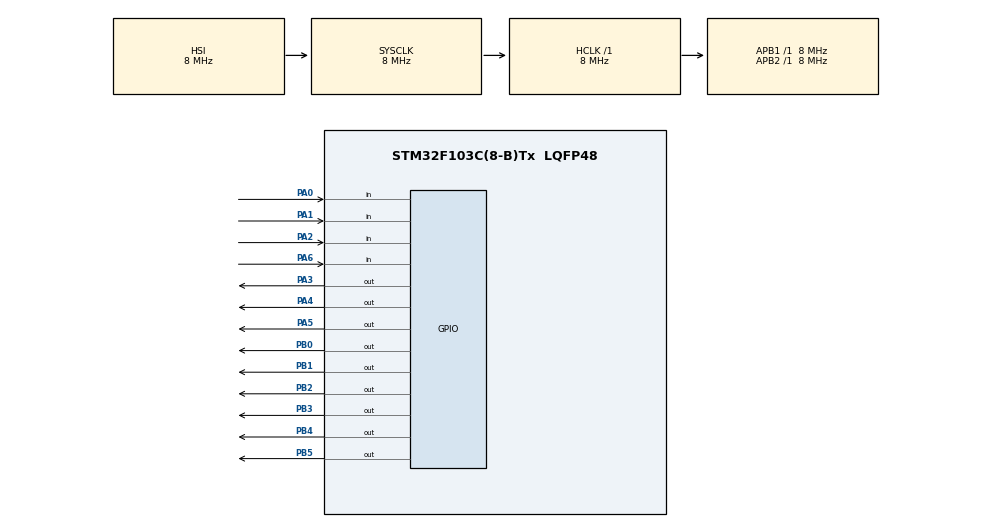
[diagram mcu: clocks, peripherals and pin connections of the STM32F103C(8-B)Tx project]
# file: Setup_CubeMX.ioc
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Mcu.Family=STM32F1
Mcu.Name=STM32F103C(8-B)Tx
Mcu.Package=LQFP48
NVIC.PriorityGroup=NVIC_PRIORITYGROUP_4
PA0-WKUP.GPIO_PuPd=GPIO_NOPULL
PA0-WKUP.Signal=GPIO_Input
PA1.Signal=GPIO_Input
PA2.Signal=GPIO_Input
PA3.Signal=GPIO_Output
PA4.Signal=GPIO_Output
PA5.Signal=GPIO_Output
PA6.Signal=GPIO_Input
PB0.Signal=GPIO_Output
PB1.Signal=GPIO_Output
PB2.Signal=GPIO_Output
PB3.Signal=GPIO_Output
PB4.Signal=GPIO_Output
PB5.Signal=GPIO_Output
PC14-OSC32_IN.Mode=LSE-External-Oscillator
PC14-OSC32_IN.Signal=RCC_OSC32_IN
PC15-OSC32_OUT.Mode=LSE-External-Oscillator
PC15-OSC32_OUT.Signal=RCC_OSC32_OUT
PD0-OSC_IN.Mode=HSE-External-Oscillator
PD0-OSC_IN.Signal=RCC_OSC_IN
PD1-OSC_OUT.Mode=HSE-External-Oscillator
PD1-OSC_OUT.Signal=RCC_OSC_OUT
ProjectManager.HeapSize=0x200
ProjectManager.StackSize=0x400
ProjectManager.TargetToolchain=MDK-ARM V5.32
RCC.AHBFreq_Value=8000000
RCC.APB1Freq_Value=8000000
RCC.APB1TimFreq_Value=8000000
RCC.APB2Freq_Value=8000000
RCC.APB2TimFreq_Value=8000000
RCC.HCLKFreq_Value=8000000
RCC.SYSCLKFreq_VALUE=8000000
RCC.USBFreq_Value=8000000
RTC.Date=26
RTC.Format=RTC_FORMAT_BIN
RTC.Hours=10
RTC.Minutes=20
RTC.Month=RTC_MONTH_AUGUST
RTC.WeekDay=RTC_WEEKDAY_SATURDAY
RTC.Year=23
VP_RTC_VS_RTC_Activate.Mode=RTC_Enabled
VP_RTC_VS_RTC_Calendar.Mode=RTC_Calendar
VP_SYS_VS_ND.Mode=No_Debug
board=custom

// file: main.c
/* USER CODE BEGIN Header */
/**
  ******************************************************************************
  * @file           : main.c
  * @brief          : Main program body
  ******************************************************************************
  * @attention
  *
  * Copyright (c) 2023 STMicroelectronics.
  * All rights reserved.
  *
  * This software is licensed under terms that can be found in the LICENSE file
  * in the root directory of this software component.
  * If no LICENSE file comes with this software, it is provided AS-IS.
  *
  ******************************************************************************
  */
/* USER CODE END Header */
#include "main.h"

/* USER CODE BEGIN Includes */
#include <stdio.h>
#include "lcd_16x2.h"

/* USER CODE END Includes */

RTC_HandleTypeDef hrtc;

void SystemClock_Config(void);
static void MX_GPIO_Init(void);
static void MX_RTC_Init(void);
/* USER CODE BEGIN PFP */
void MX_RTC_Init_New(int8_t hour,int8_t min,int8_t sec);
void giaima1(int8_t num1,int8_t num2);
void giaima2(int8_t num3,int8_t num4,int8_t num5,int8_t num6);
void end_timermode(void);
/* USER CODE END PFP */

/* USER CODE BEGIN 0 */
int8_t status=0, edit_state=0, status_tmr=0, pause_press=0, p_p_s=0, alarm_count=1, alarm_used=0, temp=0;
int8_t c_h=0, c_m=0, c_s=0, t_h=0, t_m=0, t_s=0, p_h=0, p_m=0, p_s=0, trigger=0;
uint32_t alarm_time[50];
uint8_t ma7doan[11]={0xC0,0xF9,0xA4,0xB0,0x99,0x92,0x82,0xF8,0x80,0x90,0xFF};
void giaima1(int8_t num1,int8_t num2)
	{
		int8_t mahex1=ma7doan[num1];
		int8_t mahex2=ma7doan[num2];
		HAL_GPIO_WritePin(GPIOB,GPIO_PIN_1,0);
		for(int8_t iteration1=0;iteration1<=7;iteration1++)
		{
			mahex1=mahex1<<1;
			HAL_GPIO_WritePin(GPIOB,GPIO_PIN_2,0);
			if((mahex1&0x80) == 0x80)	HAL_GPIO_WritePin(GPIOB,GPIO_PIN_0,1);
			else if((mahex1&0x80) == 0) HAL_GPIO_WritePin(GPIOB,GPIO_PIN_0,0);
			HAL_GPIO_WritePin(GPIOB,GPIO_PIN_2,1);
		}

		for(int8_t iteration2=0;iteration2<=7;iteration2++)
		{
			mahex2=mahex2<<1;
			HAL_GPIO_WritePin(GPIOB,GPIO_PIN_2,0);
			if((mahex2&0x80) == 0x80)	HAL_GPIO_WritePin(GPIOB,GPIO_PIN_0,1);
			else if((mahex2&0x80) == 0) HAL_GPIO_WritePin(GPIOB,GPIO_PIN_0,0);
			HAL_GPIO_WritePin(GPIOB,GPIO_PIN_2,1);
		}
		HAL_GPIO_WritePin(GPIOB,GPIO_PIN_1,1);
	}
void giaima2(int8_t num3,int8_t num4,int8_t num5,int8_t num6)
	{
		int8_t mahex3=ma7doan[num3];
		int8_t mahex4=ma7doan[num4];
		int8_t mahex5=ma7doan[num5];
		int8_t mahex6=ma7doan[num6];
		HAL_GPIO_WritePin(GPIOB,GPIO_PIN_4,0);
		for(int8_t iteration3=0;iteration3<=7;iteration3++)
		{
			mahex3=mahex3<<1;
			HAL_GPIO_WritePin(GPIOB,GPIO_PIN_5,0);
			if((mahex3&0x80) == 0x80)	HAL_GPIO_WritePin(GPIOB,GPIO_PIN_3,1);
			else if((mahex3&0x80) == 0) HAL_GPIO_WritePin(GPIOB,GPIO_PIN_3,0);
			HAL_GPIO_WritePin(GPIOB,GPIO_PIN_5,1);
		}

		for(int8_t iteration4=0;iteration4<=7;iteration4++)
		{
			mahex4=mahex4<<1;
			HAL_GPIO_WritePin(GPIOB,GPIO_PIN_5,0);
			if((mahex4&0x80) == 0x80)	HAL_GPIO_WritePin(GPIOB,GPIO_PIN_3,1);
			else if((mahex4&0x80) == 0) HAL_GPIO_WritePin(GPIOB,GPIO_PIN_3,0);
			HAL_GPIO_WritePin(GPIOB,GPIO_PIN_5,1);
		}

			for(int8_t iteration5=0;iteration5<=7;iteration5++)
		{
			mahex5=mahex5<<1;
			HAL_GPIO_WritePin(GPIOB,GPIO_PIN_5,0);
			if((mahex5&0x80) == 0x80)	HAL_GPIO_WritePin(GPIOB,GPIO_PIN_3,1);
			else if((mahex5&0x80) == 0) HAL_GPIO_WritePin(GPIOB,GPIO_PIN_3,0);
			HAL_GPIO_WritePin(GPIOB,GPIO_PIN_5,1);
		}

			for(int8_t iteration6=0;iteration6<=7;iteration6++)
		{
			mahex6=mahex6<<1;
			HAL_GPIO_WritePin(GPIOB,GPIO_PIN_5,0);
			if((mahex6&0x80) == 0x80)	HAL_GPIO_WritePin(GPIOB,GPIO_PIN_3,1);
			else if((mahex6&0x80) == 0) HAL_GPIO_WritePin(GPIOB,GPIO_PIN_3,0);
			HAL_GPIO_WritePin(GPIOB,GPIO_PIN_5,1);
		}

		HAL_GPIO_WritePin(GPIOB,GPIO_PIN_4,1);
	}
void end_timermode(void)
	{
		if (HAL_GPIO_ReadPin(GPIOA,GPIO_PIN_1)==0)
		{
			while (HAL_GPIO_ReadPin(GPIOA,GPIO_PIN_1)==0){}
			MX_RTC_Init_New(t_h,t_m,t_s);
			status=0;
			status_tmr=0;
			HAL_GPIO_WritePin(GPIOA,GPIO_PIN_4,1);
			if (pause_press==1) pause_press=0;
			if (p_p_s==1)	p_p_s=0;
		}
	}
/* USER CODE END 0 */

int main(void)
{

  /* MCU Configuration--------------------------------------------------------*/

  /* Reset of all peripherals, Initializes the Flash interface and the Systick. */
  HAL_Init();

  /* USER CODE BEGIN Init */
	RTC_TimeTypeDef Ttime;
	RTC_DateTypeDef Tdate;
  /* USER CODE END Init */

  /* Configure the system clock */
  SystemClock_Config();

  /* Initialize all configured peripherals */
  MX_GPIO_Init();
  MX_RTC_Init();
  /* USER CODE BEGIN 2 */
  char Lcd_data[100];
	Lcd_Init();
	HAL_GPIO_WritePin(GPIOA,GPIO_PIN_3,1);
	HAL_GPIO_WritePin(GPIOA,GPIO_PIN_4,1);
	HAL_GPIO_WritePin(GPIOA,GPIO_PIN_5,1);
  /* USER CODE END 2 */

  /* Infinite loop */
  while (1)
  {

    /* USER CODE BEGIN 3 */
		if ((status==4) || (status==5)) //keep rtc while setting alarm
		{
			HAL_RTC_GetTime(&hrtc, &Ttime, RTC_FORMAT_BIN);
			HAL_RTC_GetDate(&hrtc, &Tdate, RTC_FORMAT_BIN);
		}
		if (status==0)
		{
			HAL_RTC_GetTime(&hrtc, &Ttime, RTC_FORMAT_BIN);
			HAL_RTC_GetDate(&hrtc, &Tdate, RTC_FORMAT_BIN);
			giaima1(Ttime.Seconds%10,Ttime.Seconds/10);
			if ((status_tmr==0)||(Ttime.Hours>0)) giaima2(Ttime.Minutes%10,Ttime.Minutes/10,Ttime.Hours%10,Ttime.Hours/10);
			else if ((status_tmr==1)&&(Ttime.Hours<1)) giaima2(Ttime.Minutes%10,Ttime.Minutes/10,10,10);	//when hour=0 in timer mode disable hour leds
		}

//timer step 2 (stop timer after started & end timer)
		if (status_tmr==1)
		{
			if ((HAL_GPIO_ReadPin(GPIOA,GPIO_PIN_2)==0) && pause_press==0) //pause button pressed 1st time
			{
				while (HAL_GPIO_ReadPin(GPIOA,GPIO_PIN_2)==0){}
					status=3; //stop time in timer
					p_h=Ttime.Hours;
					p_m=Ttime.Minutes;
					p_s=Ttime.Seconds;
					giaima1(Ttime.Seconds%10,Ttime.Seconds/10);
					if (Ttime.Hours<1) giaima2(Ttime.Minutes%10,Ttime.Minutes/10,10,10);
					else if (Ttime.Hours>0) giaima2(Ttime.Minutes%10,Ttime.Minutes/10,Ttime.Hours%10,Ttime.Hours/10);
					pause_press=1;
					p_p_s=1;	// when pause and stop happen at same time, skip the stop button pressed 1st time
			}
			if ((HAL_GPIO_ReadPin(GPIOA,GPIO_PIN_2)==0) && pause_press==1) //pause button pressed 2nd time
			{
				while (HAL_GPIO_ReadPin(GPIOA,GPIO_PIN_2)==0){}
					status=0; //stop time in timer status
					MX_RTC_Init_New(p_h,p_m,p_s);
					pause_press=0;
			}
			if ((HAL_GPIO_ReadPin(GPIOA,GPIO_PIN_0)==0) && pause_press==0) //stop button pressed 1st time
			{
				while (HAL_GPIO_ReadPin(GPIOA,GPIO_PIN_0)==0){}
					status=3; //stop time in timer status
					giaima1(Ttime.Seconds%10,Ttime.Seconds/10);
					if (Ttime.Hours<1) giaima2(Ttime.Minutes%10,Ttime.Minutes/10,10,10);
					else if (Ttime.Hours>0) giaima2(Ttime.Minutes%10,Ttime.Minutes/10,Ttime.Hours%10,Ttime.Hours/10);
					status_tmr=2;
			}
			end_timermode();
		}

//timer step 2 (reset timer for the next run & end timer)
		if ((status_tmr==2) || p_p_s==1)	//activated when stop button has been pressed 1 time or stop during pause
		{
			if (HAL_GPIO_ReadPin(GPIOA,GPIO_PIN_0)==0)	//stop button pressed  2nd time
			{
				while (HAL_GPIO_ReadPin(GPIOA,GPIO_PIN_0)==0){}
				MX_RTC_Init_New(0,0,0);
				giaima1(0,0);
				giaima2(0,0,10,10);
				status=2;
				status_tmr=0;
				p_p_s=0;
			}
			end_timermode();
		}

//edit mode with rtc stopped
		if (status==1)
		{
			while (edit_state==0) //edit hour
				{
					giaima1(c_s%10,c_s/10);
					giaima2(c_m%10,c_m/10,10,10);
					HAL_Delay(80);
					giaima2(c_m%10,c_m/10,c_h%10,c_h/10);
					if (HAL_GPIO_ReadPin(GPIOA,GPIO_PIN_1)==0)
					{
						while (HAL_GPIO_ReadPin(GPIOA,GPIO_PIN_1)==0){}
						c_h=c_h+1;
						if(c_h==24) c_h=0;
					}
					if (HAL_GPIO_ReadPin(GPIOA,GPIO_PIN_2)==0)
					{
						while (HAL_GPIO_ReadPin(GPIOA,GPIO_PIN_2)==0){}
						c_h=c_h-1;
						if(c_h==-1) c_h=23;
					}
					if (HAL_GPIO_ReadPin(GPIOA,GPIO_PIN_0)==0)
					{
						while (HAL_GPIO_ReadPin(GPIOA,GPIO_PIN_0)==0){}
						edit_state = 1;	//initialize edit minute
						giaima2(c_m%10,c_m/10,c_h%10,c_h/10);
					}
					HAL_Delay(80);
				}
			while (edit_state==1)	//edit minute
				{
					giaima1(c_s%10,c_s/10);
					giaima2(10,10,c_h%10,c_h/10);
					HAL_Delay(80);
					giaima2(c_m%10,c_m/10,c_h%10,c_h/10);
					if (HAL_GPIO_ReadPin(GPIOA,GPIO_PIN_1)==0)
					{
						while (HAL_GPIO_ReadPin(GPIOA,GPIO_PIN_1)==0){}
						c_m=c_m+1;
						if(c_m==60) c_m=0;
					}
					if (HAL_GPIO_ReadPin(GPIOA,GPIO_PIN_2)==0)
					{
						while (HAL_GPIO_ReadPin(GPIOA,GPIO_PIN_2)==0){}
						c_m=c_m-1;
						if(c_m==-1) c_m=59;
					}
					if (HAL_GPIO_ReadPin(GPIOA,GPIO_PIN_0)==0)
					{
						while (HAL_GPIO_ReadPin(GPIOA,GPIO_PIN_0)==0){}
						edit_state = 2;	//initialize edit second
						giaima2(c_m%10,c_m/10,c_h%10,c_h/10);
					}
					HAL_Delay(80);
				}
			while (edit_state==2)	//edit second
				{
					giaima1(10,10);
					giaima2(c_m%10,c_m/10,c_h%10,c_h/10);
					HAL_Delay(80);
					giaima1(c_s%10,c_s/10);
					if (HAL_GPIO_ReadPin(GPIOA,GPIO_PIN_1)==0)
					{
						while (HAL_GPIO_ReadPin(GPIOA,GPIO_PIN_1)==0){}
						c_s=c_s+1;
						if(c_s==60) c_s=0;
					}
					if (HAL_GPIO_ReadPin(GPIOA,GPIO_PIN_2)==0)
					{
						while (HAL_GPIO_ReadPin(GPIOA,GPIO_PIN_2)==0){}
						c_s=c_s-1;
						if(c_s==-1) c_s=59;
					}
					if (HAL_GPIO_ReadPin(GPIOA,GPIO_PIN_0)==0)
					{
						while (HAL_GPIO_ReadPin(GPIOA,GPIO_PIN_0)==0){}
						edit_state = 3;	//initialize finish edit
						giaima1(c_s%10,c_s/10);
					}
					HAL_Delay(80);
				}
			if(edit_state==3)	//finish edit
			{
				edit_state=0;
				HAL_GPIO_WritePin(GPIOA,GPIO_PIN_3,1);
				MX_RTC_Init_New(c_h,c_m,c_s);	//continue rtc with editted value
				status=0;
			}
		}

//timer step 1 (waiting for start button pressed & end timer)
		if (status==2)
		{
			giaima1(0,0);
			giaima2(0,0,10,10);
			if (HAL_GPIO_ReadPin(GPIOA,GPIO_PIN_0)==0) //start button
			{
				while (HAL_GPIO_ReadPin(GPIOA,GPIO_PIN_0)==0){}
				MX_RTC_Init_New(0,0,0);
				status=0;
				status_tmr=1;
				}
			end_timermode();
		}

//alarm step 1 (input number of alarm)
		if (status==4)
		{
			if (alarm_count<10) giaima1(alarm_count,10);
			else giaima1(alarm_count%10,alarm_count/10);
			giaima2(10,10,10,10);
			if (HAL_GPIO_ReadPin(GPIOA,GPIO_PIN_1)==0)
			{
				while (HAL_GPIO_ReadPin(GPIOA,GPIO_PIN_1)==0){}
				alarm_count=alarm_count+1;
				if(alarm_count==50) alarm_count=49;
			}
			if (HAL_GPIO_ReadPin(GPIOA,GPIO_PIN_2)==0)
			{
				while (HAL_GPIO_ReadPin(GPIOA,GPIO_PIN_2)==0){}
				alarm_count=alarm_count-1;
				if(alarm_count==0) alarm_count=1;
			}
			if (HAL_GPIO_ReadPin(GPIOA,GPIO_PIN_6)==0)
			{
				while (HAL_GPIO_ReadPin(GPIOA,GPIO_PIN_6)==0){}
				status=5;	//alarm
			}
		}

//alarm step 2 (select time for each alarm)
		if (status==5)
		{
			for(int8_t iteration7=0;iteration7<alarm_count;iteration7++)
			{
				if (alarm_count<10) giaima1(iteration7+1,10);
				else giaima1((iteration7+1)%10,(iteration7+1)/10);
				giaima2(10,10,10,10);
				HAL_Delay(850);	//display the alarm number
				while (edit_state==0) //alarm hour
				{
					giaima1(t_s%10,t_s/10);
					giaima2(t_m%10,t_m/10,10,10);
					HAL_Delay(80);
					giaima2(t_m%10,t_m/10,t_h%10,t_h/10);
					if (HAL_GPIO_ReadPin(GPIOA,GPIO_PIN_1)==0)
					{
						while (HAL_GPIO_ReadPin(GPIOA,GPIO_PIN_1)==0){}
						t_h=t_h+1;
						if(t_h==24) t_h=0;
					}
					if (HAL_GPIO_ReadPin(GPIOA,GPIO_PIN_2)==0)
					{
						while (HAL_GPIO_ReadPin(GPIOA,GPIO_PIN_2)==0){}
						t_h=t_h-1;
						if(t_h==-1) t_h=23;
					}
					if (HAL_GPIO_ReadPin(GPIOA,GPIO_PIN_6)==0)
					{
						while (HAL_GPIO_ReadPin(GPIOA,GPIO_PIN_6)==0){}
						edit_state = 1;	//initialize alarm minute
						giaima2(t_m%10,t_m/10,t_h%10,t_h/10);
					}
					HAL_Delay(80);
				}
				while (edit_state==1)	//alarm minute
				{
					giaima1(t_s%10,t_s/10);
					giaima2(10,10,t_h%10,t_h/10);
					HAL_Delay(80);
					giaima2(t_m%10,t_m/10,t_h%10,t_h/10);
					if (HAL_GPIO_ReadPin(GPIOA,GPIO_PIN_1)==0)
					{
						while (HAL_GPIO_ReadPin(GPIOA,GPIO_PIN_1)==0){}
						t_m=t_m+1;
						if(t_m==60) t_m=0;
					}
					if (HAL_GPIO_ReadPin(GPIOA,GPIO_PIN_2)==0)
					{
						while (HAL_GPIO_ReadPin(GPIOA,GPIO_PIN_2)==0){}
						t_m=t_m-1;
						if(t_m==-1) t_m=59;
					}
					if (HAL_GPIO_ReadPin(GPIOA,GPIO_PIN_6)==0)
					{
						while (HAL_GPIO_ReadPin(GPIOA,GPIO_PIN_6)==0){}
						edit_state = 2;	//initialize alarm second
						giaima2(t_m%10,t_m/10,t_h%10,t_h/10);
					}
					HAL_Delay(80);
				}
				while (edit_state==2)	//alarm second
				{
					giaima1(10,10);
					giaima2(t_m%10,t_m/10,t_h%10,t_h/10);
					HAL_Delay(80);
					giaima1(t_s%10,t_s/10);
					if (HAL_GPIO_ReadPin(GPIOA,GPIO_PIN_1)==0)
					{
						while (HAL_GPIO_ReadPin(GPIOA,GPIO_PIN_1)==0){}
						t_s=t_s+1;
						if(t_s==60) t_s=0;
					}
					if (HAL_GPIO_ReadPin(GPIOA,GPIO_PIN_2)==0)
					{
						while (HAL_GPIO_ReadPin(GPIOA,GPIO_PIN_2)==0){}
						t_s=t_s-1;
						if(t_s==-1) t_s=59;
					}
					if (HAL_GPIO_ReadPin(GPIOA,GPIO_PIN_6)==0)
					{
						while (HAL_GPIO_ReadPin(GPIOA,GPIO_PIN_6)==0){}
						edit_state = 0;	//initialize finish alarm
						alarm_time[iteration7]=t_h*3600+t_m*60+t_s;
						giaima1(t_s%10,t_s/10);
							for(int8_t iteration8=0;iteration8<4;iteration8++)
							{
								HAL_GPIO_TogglePin(GPIOA,GPIO_PIN_5);	//alarm cofirmation
								HAL_Delay(90);
							}
						}
					HAL_Delay(80);
					}
				}
//				MX_RTC_Init_New(c_h,c_m,c_s);  //unlock if no need to keep rtc when on alarm setting mode
				status=0;
				HAL_GPIO_WritePin(GPIOA,GPIO_PIN_5,1);
				alarm_used=1;	//alarm has been used
				for (int8_t iteration9=0;iteration9<alarm_count;iteration9++) //rearrange alarm time array in increasing order
				{
					for (int8_t iteration10=iteration9+1;iteration10<alarm_count;iteration10++)
					{
						if(alarm_time[iteration9] > alarm_time[iteration10])
						{
							temp = alarm_time[iteration9];
              alarm_time[iteration9] = alarm_time[iteration10];
              alarm_time[iteration10] = temp;
						}
					}
				}
		}

//alarm step 3( alarm is used and detect if the current time is same as the alarm set)
		if (alarm_used==1)
		{
			if ((alarm_count==1)&&((Ttime.Hours*3600+Ttime.Minutes*60+Ttime.Seconds)>alarm_time[0])) trigger=1;
			for (int8_t iteration11=0;iteration11<alarm_count;iteration11++)
			{
				if (((Ttime.Hours*3600+Ttime.Minutes*60+Ttime.Seconds) == alarm_time[iteration11]))
				{
					trigger=1;
				}
			}
			if (trigger==1)
			{
				HAL_GPIO_WritePin(GPIOA,GPIO_PIN_5,0);	//turn on alarm led
			}
			if ((HAL_GPIO_ReadPin(GPIOA,GPIO_PIN_6)==0) && (trigger==1))
			{
				while (HAL_GPIO_ReadPin(GPIOA,GPIO_PIN_6)==0){}
				HAL_GPIO_WritePin(GPIOA,GPIO_PIN_5,1);
				trigger=0; //turn off alarm led
				if(Ttime.Hours*3600+Ttime.Minutes*60+Ttime.Seconds>alarm_time[alarm_count-1])	//if the real time> than the largest alarm then reset alarm
				{
					alarm_used=0;
					alarm_count=1;
				}
			}
		}

//edit mode
		if ((HAL_GPIO_ReadPin(GPIOA,GPIO_PIN_0)==0) && (status_tmr==0))
		{
			while (HAL_GPIO_ReadPin(GPIOA,GPIO_PIN_0)==0){}
			status=1;	//edit
			HAL_GPIO_WritePin(GPIOA,GPIO_PIN_3,0);
			c_h=Ttime.Hours;
			c_m=Ttime.Minutes;
			c_s=Ttime.Seconds;
		}

//timer mode
		if (HAL_GPIO_ReadPin(GPIOA,GPIO_PIN_1)==0)
		{
			while (HAL_GPIO_ReadPin(GPIOA,GPIO_PIN_1)==0){}
			status=2;	//timer
			HAL_GPIO_WritePin(GPIOA,GPIO_PIN_4,0);
			t_h=Ttime.Hours;	//stored time before enter timer mode
			t_m=Ttime.Minutes;
			t_s=Ttime.Seconds;
		}

//alarm mode
		if (HAL_GPIO_ReadPin(GPIOA,GPIO_PIN_6)==0 && alarm_used==0)
		{
			while (HAL_GPIO_ReadPin(GPIOA,GPIO_PIN_6)==0){}
			status=4;	//alarm
			HAL_GPIO_WritePin(GPIOA,GPIO_PIN_5,0);
			t_h=Ttime.Hours;	//stored time before enter alarm mode
			t_m=Ttime.Minutes;
			t_s=Ttime.Seconds;
//			c_h=Ttime.Hours;	 //unlock if no need to keep rtc when on alarm setting mode
//			c_m=Ttime.Minutes;
//			c_s=Ttime.Seconds;
		}

		Lcd_gotoxy(0,0);	//print rtc to lcd (connect lcd first)
		Lcd_write_string("Real-time clock");
		sprintf(Lcd_data,"%d:%02d:%02d",Ttime.Hours,Ttime.Minutes,Ttime.Seconds);
		Lcd_gotoxy(0,1);
		Lcd_write_string(Lcd_data);
/*		if (Tdate.Month >9) Tdate.Month=Tdate.Month-6; // unlock if working on date/month/year
		sprintf(Lcd_data, "Date: %02d:%02d:%02d",Tdate.Date,Tdate.Month,Tdate.Year);
			Lcd_gotoxy(0,1);
			Lcd_write_string(Lcd_data);*/
	}
  /* USER CODE END 3 */
}

void SystemClock_Config(void)
{
  RCC_OscInitTypeDef RCC_OscInitStruct = {0};
  RCC_ClkInitTypeDef RCC_ClkInitStruct = {0};
  RCC_PeriphCLKInitTypeDef PeriphClkInit = {0};

  /** Initializes the RCC Oscillators according to the specified parameters
  * in the RCC_OscInitTypeDef structure.
  */
  RCC_OscInitStruct.OscillatorType = RCC_OSCILLATORTYPE_HSI|RCC_OSCILLATORTYPE_LSI;
  RCC_OscInitStruct.HSIState = RCC_HSI_ON;
  RCC_OscInitStruct.HSICalibrationValue = RCC_HSICALIBRATION_DEFAULT;
  RCC_OscInitStruct.LSIState = RCC_LSI_ON;
  RCC_OscInitStruct.PLL.PLLState = RCC_PLL_NONE;
  if (HAL_RCC_OscConfig(&RCC_OscInitStruct) != HAL_OK)
  {
    Error_Handler();
  }

  /** Initializes the CPU, AHB and APB buses clocks
  */
  RCC_ClkInitStruct.ClockType = RCC_CLOCKTYPE_HCLK|RCC_CLOCKTYPE_SYSCLK
                              |RCC_CLOCKTYPE_PCLK1|RCC_CLOCKTYPE_PCLK2;
  RCC_ClkInitStruct.SYSCLKSource = RCC_SYSCLKSOURCE_HSI;
  RCC_ClkInitStruct.AHBCLKDivider = RCC_SYSCLK_DIV1;
  RCC_ClkInitStruct.APB1CLKDivider = RCC_HCLK_DIV1;
  RCC_ClkInitStruct.APB2CLKDivider = RCC_HCLK_DIV1;

  if (HAL_RCC_ClockConfig(&RCC_ClkInitStruct, FLASH_LATENCY_0) != HAL_OK)
  {
    Error_Handler();
  }
  PeriphClkInit.PeriphClockSelection = RCC_PERIPHCLK_RTC;
  PeriphClkInit.RTCClockSelection = RCC_RTCCLKSOURCE_LSI;
  if (HAL_RCCEx_PeriphCLKConfig(&PeriphClkInit) != HAL_OK)
  {
    Error_Handler();
  }
}

static void MX_RTC_Init(void)
{

  RTC_TimeTypeDef sTime = {0};
  RTC_DateTypeDef DateToUpdate = {0};

  /** Initialize RTC Only
  */
  hrtc.Instance = RTC;
  hrtc.Init.AsynchPrediv = RTC_AUTO_1_SECOND;
  hrtc.Init.OutPut = RTC_OUTPUTSOURCE_ALARM;
  if (HAL_RTC_Init(&hrtc) != HAL_OK)
  {
    Error_Handler();
  }

  /** Initialize RTC and set the Time and Date
  */
  sTime.Hours = 10;
  sTime.Minutes = 20;
  sTime.Seconds = 0;

  if (HAL_RTC_SetTime(&hrtc, &sTime, RTC_FORMAT_BIN) != HAL_OK)
  {
    Error_Handler();
  }
  DateToUpdate.WeekDay = RTC_WEEKDAY_SATURDAY;
  DateToUpdate.Month = RTC_MONTH_AUGUST;
  DateToUpdate.Date = 26;
  DateToUpdate.Year = 23;

  if (HAL_RTC_SetDate(&hrtc, &DateToUpdate, RTC_FORMAT_BIN) != HAL_OK)
  {
    Error_Handler();
  }

}

static void MX_GPIO_Init(void)
{
  GPIO_InitTypeDef GPIO_InitStruct = {0};

  /* GPIO Ports Clock Enable */
  __HAL_RCC_GPIOC_CLK_ENABLE();
  __HAL_RCC_GPIOD_CLK_ENABLE();
  __HAL_RCC_GPIOA_CLK_ENABLE();
  __HAL_RCC_GPIOB_CLK_ENABLE();

  /*Configure GPIO pin Output Level */
  HAL_GPIO_WritePin(GPIOA, GPIO_PIN_3|GPIO_PIN_4|GPIO_PIN_5, GPIO_PIN_RESET);

  /*Configure GPIO pin Output Level */
  HAL_GPIO_WritePin(GPIOB, GPIO_PIN_0|GPIO_PIN_1|GPIO_PIN_2|GPIO_PIN_3
                          |GPIO_PIN_4|GPIO_PIN_5, GPIO_PIN_RESET);

  /*Configure GPIO pins : PA0 PA1 PA2 PA6 */
  GPIO_InitStruct.Pin = GPIO_PIN_0|GPIO_PIN_1|GPIO_PIN_2|GPIO_PIN_6;
  GPIO_InitStruct.Mode = GPIO_MODE_INPUT;
  GPIO_InitStruct.Pull = GPIO_NOPULL;
  HAL_GPIO_Init(GPIOA, &GPIO_InitStruct);

  /*Configure GPIO pins : PA3 PA4 PA5 */
  GPIO_InitStruct.Pin = GPIO_PIN_3|GPIO_PIN_4|GPIO_PIN_5;
  GPIO_InitStruct.Mode = GPIO_MODE_OUTPUT_PP;
  GPIO_InitStruct.Pull = GPIO_NOPULL;
  GPIO_InitStruct.Speed = GPIO_SPEED_FREQ_LOW;
  HAL_GPIO_Init(GPIOA, &GPIO_InitStruct);

  /*Configure GPIO pins : PB0 PB1 PB2 PB3
                           PB4 PB5 */
  GPIO_InitStruct.Pin = GPIO_PIN_0|GPIO_PIN_1|GPIO_PIN_2|GPIO_PIN_3
                          |GPIO_PIN_4|GPIO_PIN_5;
  GPIO_InitStruct.Mode = GPIO_MODE_OUTPUT_PP;
  GPIO_InitStruct.Pull = GPIO_NOPULL;
  GPIO_InitStruct.Speed = GPIO_SPEED_FREQ_LOW;
  HAL_GPIO_Init(GPIOB, &GPIO_InitStruct);

}

/* USER CODE BEGIN 4 */
void MX_RTC_Init_New(int8_t hour, int8_t min, int8_t sec)
{

  /* USER CODE BEGIN RTC_Init 0 */

  /* USER CODE END RTC_Init 0 */

  RTC_TimeTypeDef sTime = {0};
  RTC_DateTypeDef DateToUpdate = {0};

  /* USER CODE BEGIN RTC_Init 1 */

  /* USER CODE END RTC_Init 1 */

  /** Initialize RTC Only
  */
  hrtc.Instance = RTC;
  hrtc.Init.AsynchPrediv = RTC_AUTO_1_SECOND;
  hrtc.Init.OutPut = RTC_OUTPUTSOURCE_ALARM;
  if (HAL_RTC_Init(&hrtc) != HAL_OK)
  {
    Error_Handler();
  }

  /* USER CODE BEGIN Check_RTC_BKUP */

  /* USER CODE END Check_RTC_BKUP */

  /** Initialize RTC and set the Time and Date
  */
  sTime.Hours = hour;
  sTime.Minutes = min;
  sTime.Seconds = sec;

  if (HAL_RTC_SetTime(&hrtc, &sTime, RTC_FORMAT_BIN) != HAL_OK)
  {
    Error_Handler();
  }
  DateToUpdate.WeekDay = RTC_WEEKDAY_SATURDAY;
  DateToUpdate.Month = RTC_MONTH_AUGUST;
  DateToUpdate.Date = 26;
  DateToUpdate.Year = 23;

  if (HAL_RTC_SetDate(&hrtc, &DateToUpdate, RTC_FORMAT_BIN) != HAL_OK)
  {
    Error_Handler();
  }
  /* USER CODE BEGIN RTC_Init 2 */

  /* USER CODE END RTC_Init 2 */

}
/* USER CODE END 4 */

void Error_Handler(void)
{
  __disable_irq();
  while (1)
  {
  }
}
